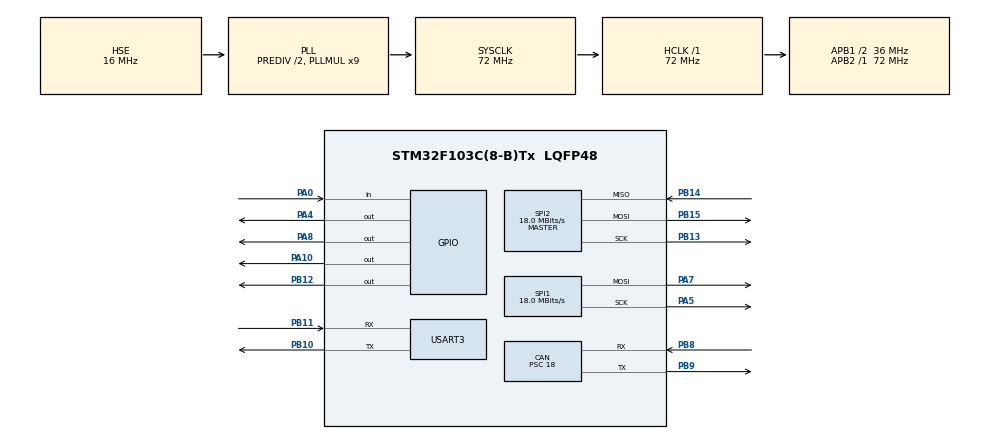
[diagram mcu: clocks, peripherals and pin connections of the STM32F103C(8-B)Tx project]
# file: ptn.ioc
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CAN.BS1=CAN_BS1_13TQ
CAN.BS2=CAN_BS2_2TQ
CAN.CalculateBaudRate=125000
CAN.CalculateTimeBit=8000
CAN.CalculateTimeQuantum=500.0
CAN.Prescaler=18
Mcu.Family=STM32F1
Mcu.Name=STM32F103C(8-B)Tx
Mcu.Package=LQFP48
NVIC.PriorityGroup=NVIC_PRIORITYGROUP_4
NVIC.TIM2_IRQn=true\:0\:0\:false\:false\:true\:true\:true\:true
PA0-WKUP.GPIO_PuPd=GPIO_PULLUP
PA0-WKUP.Signal=GPIO_Input
PA10.Signal=GPIO_Output
PA13.Mode=Serial_Wire
PA13.Signal=SYS_JTMS-SWDIO
PA14.Mode=Serial_Wire
PA14.Signal=SYS_JTCK-SWCLK
PA4.Signal=GPIO_Output
PA5.Mode=TX_Only_Simplex_Unidirect_Master
PA5.Signal=SPI1_SCK
PA7.Mode=TX_Only_Simplex_Unidirect_Master
PA7.Signal=SPI1_MOSI
PA8.Signal=GPIO_Output
PB10.Mode=Asynchronous
PB10.Signal=USART3_TX
PB11.Mode=Asynchronous
PB11.Signal=USART3_RX
PB12.Signal=GPIO_Output
PB13.Mode=Full_Duplex_Master
PB13.Signal=SPI2_SCK
PB14.Mode=Full_Duplex_Master
PB14.Signal=SPI2_MISO
PB15.Mode=Full_Duplex_Master
PB15.Signal=SPI2_MOSI
PB8.Mode=CAN_Activate
PB8.Signal=CAN_RX
PB9.Mode=CAN_Activate
PB9.Signal=CAN_TX
PD0-OSC_IN.Mode=HSE-External-Oscillator
PD0-OSC_IN.Signal=RCC_OSC_IN
PD1-OSC_OUT.Mode=HSE-External-Oscillator
PD1-OSC_OUT.Signal=RCC_OSC_OUT
ProjectManager.HeapSize=0x200
ProjectManager.StackSize=0x400
ProjectManager.TargetToolchain=Makefile
RCC.AHBFreq_Value=72000000
RCC.APB1CLKDivider=RCC_HCLK_DIV2
RCC.APB1Freq_Value=36000000
RCC.APB1TimFreq_Value=72000000
RCC.APB2Freq_Value=72000000
RCC.APB2TimFreq_Value=72000000
RCC.HCLKFreq_Value=72000000
RCC.HSEDivPLL=RCC_HSE_PREDIV_DIV2
RCC.HSE_VALUE=16000000
RCC.PLLMUL=RCC_PLL_MUL9
RCC.PLLSourceVirtual=RCC_PLLSOURCE_HSE
RCC.SYSCLKFreq_VALUE=72000000
RCC.SYSCLKSource=RCC_SYSCLKSOURCE_PLLCLK
RCC.USBFreq_Value=72000000
SPI1.BaudRatePrescaler=SPI_BAUDRATEPRESCALER_4
SPI1.CalculateBaudRate=18.0 MBits/s
SPI1.Direction=SPI_DIRECTION_2LINES
SPI1.Mode=SPI_MODE_MASTER
SPI1.VirtualType=VM_MASTER
SPI2.BaudRatePrescaler=SPI_BAUDRATEPRESCALER_2
SPI2.CalculateBaudRate=18.0 MBits/s
SPI2.Direction=SPI_DIRECTION_2LINES
SPI2.Mode=SPI_MODE_MASTER
SPI2.VirtualType=VM_MASTER
TIM2.Period=7199
TIM2.Prescaler=999
USART3.VirtualMode=VM_ASYNC
VP_TIM2_VS_ClockSourceINT.Mode=Internal
board=custom

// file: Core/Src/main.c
/* USER CODE BEGIN Header */
/**
  ******************************************************************************
  * @file           : main.c
  * @brief          : Main program body
  * @author         : Ardavan Pourkeramati
  ******************************************************************************
  * @attention
  *
  * Copyright (c) 2024 STMicroelectronics.
  * All rights reserved.
  *
  * This software is licensed under terms that can be found in the LICENSE file
  * in the root directory of this software component.
  * If no LICENSE file comes with this software, it is provided AS-IS.
  *
  ******************************************************************************
  */
/* USER CODE END Header */
#include "main.h"
#include "can.h"
#include "spi.h"
#include "tim.h"
#include "usart.h"
#include "gpio.h"

/* USER CODE BEGIN Includes */
#include "adf4351.h"
#include "nrf24l01.h"
#include <stdio.h>
#include <stdbool.h>
/* USER CODE END Includes */

/* USER CODE BEGIN PD */
#define FHSS_NUM_FREQS (100)
/* USER CODE END PD */

/* USER CODE BEGIN PV */
const uint64_t fhss_freqs[FHSS_NUM_FREQS] = {
    915564235, 904440541, 903148600, 904227128, 917506829,
    909397973, 908812571, 915449869, 919254899, 926507321,
    925822447, 923067571, 903557369, 916691446, 912408403,
    915808206, 903846361, 915402520, 906336386, 902037364,
    909321452, 907231759, 918789091, 905750371, 923042615,
    906372704, 912755720, 904459906, 906370088, 923731407,
    903472249, 927657559, 912651500, 918619844, 925694767,
    927554893, 919457550, 916626225, 906220683, 920235783,
    921967008, 902299182, 911944043, 906843950, 926112279,
    910403184, 923919218, 918063135, 924158523, 921292666,
    904810996, 905714947, 913249837, 914091121, 925623877,
    925355688, 906284260, 920917239, 917981303, 905593593,
    917042242, 902399063, 923820062, 926307788, 909535172,
    907539445, 925176093, 904984611, 909284218, 919224644,
    905772047, 920586961, 916456393, 907262194, 916956907,
    909592341, 924544342, 926980836, 922475339, 924512210,
    926230896, 917236004, 912573921, 903178029, 924828246,
    923296754, 916947099, 910847903, 926148369, 914389275,
    915863526, 911243652, 904026491, 904906841, 912758865,
    903310541, 907514837, 926261994, 927272190, 903953924
};

/* USER CODE END PV */

void SystemClock_Config(void);
/* USER CODE BEGIN PFP */
void cmd_sm_init(void);
void read_back_config(void);
/* USER CODE END PFP */

int main(void)
{

  /* MCU Configuration--------------------------------------------------------*/

  /* Reset of all peripherals, Initializes the Flash interface and the Systick. */
  HAL_Init();

  /* USER CODE BEGIN Init */

  // Disable buffering for stdout:
  setvbuf(stdout, NULL, _IONBF, 0);

  /* USER CODE END Init */

  /* Configure the system clock */
  SystemClock_Config();

  /* Initialize all configured peripherals */
  MX_GPIO_Init();
  MX_SPI1_Init();
  MX_TIM2_Init();
  MX_SPI2_Init();
  MX_CAN_Init();
  MX_USART3_UART_Init();
  /* USER CODE BEGIN 2 */

  // Set up initial state for SPI IO pins:
  HAL_GPIO_WritePin(SPI1_CSn_GPIO_Port, SPI1_CSn_Pin, 1);
  HAL_GPIO_WritePin(SPI1_LD_GPIO_Port, SPI1_LD_Pin, 1);

  // PTN - SN pair status:
  bool ptn_sn_paired = false;
  uint8_t paired_sn_id = SN_ID_UNPAIRED;

  // PTN ID Detection:
  uint8_t ptn_id = 0;
  if (HAL_GPIO_ReadPin(PTN_ID_Port, PTN_ID_Pin) == 1)
  {
    ptn_id = PTN_1;
  }
  else
  {
    ptn_id = PTN_2;
  }

  // Initialize the ADF4351 and keep it off:
  cmd_sm_init();
  adf4350_out_altvoltage0_powerdown(1);
  HAL_GPIO_WritePin(PTN_RF_ON_LED_Port, PTN_RF_ON_LED_Pin, 0);

  // CAN Setup:
  CAN_FilterTypeDef can_filter = {
      .FilterIdHigh = (uint32_t)(PTN_REQUEST_ID << 5 | 0x0000),
      .FilterIdLow = 0,
      .FilterMaskIdHigh = (uint32_t)(PTN_RESET << 5 | 0x0000),
      .FilterMaskIdLow = 0,
      .FilterFIFOAssignment = CAN_FILTER_FIFO0,
      .FilterBank = 0,
      .FilterMode = CAN_FILTERMODE_IDLIST,
      .FilterScale = CAN_FILTERSCALE_32BIT,
      .FilterActivation = CAN_FILTER_ENABLE,
      .SlaveStartFilterBank = 0,
  };

  HAL_CAN_ConfigFilter(&hcan, &can_filter);

  HAL_CAN_Start(&hcan);

  CAN_TxHeaderTypeDef tx_header = {
      .StdId = PTN_RESPONSE_ID,
      .ExtId = 0,
      .IDE = CAN_ID_STD,
      .RTR = CAN_RTR_DATA,
      .DLC = CAN_MSG_FRAME_LEN_BYTES,
      .TransmitGlobalTime = DISABLE,
  };

  uint8_t can_tx_payload[CAN_MSG_FRAME_LEN_BYTES] = {0};
  uint8_t can_rx_payload[CAN_MSG_FRAME_LEN_BYTES] = {0};

  HAL_StatusTypeDef can_tx_status = HAL_OK;
  HAL_StatusTypeDef can_rx_status = HAL_OK;

  CAN_RxHeaderTypeDef rx_header = {0};
  uint32_t can_tx_mailbox = 0;

  // NRF24L01 Setup:
  uint8_t tx_payload[MAX_DATA_BYTES] = {0};
  uint8_t rf_payload[PAYLOAD_SZ_BYTES] = {0};

  // [REQUIRED] Make sure to power on the device
  tx_payload[0] = 0b00111111;
  tx_spi_cmd(&hspi2, W_REGISTER(CONFIG_REGISTER), tx_payload, 1);
  HAL_Delay(500);

  // [REQUIRED] Make sure to power on the device
  tx_payload[0] = 0b00111111;
  tx_spi_cmd(&hspi2, W_REGISTER(CONFIG_REGISTER), tx_payload, 1);

  // [REQUIRED] Set payload size for pipe 0
  tx_payload[0] = PAYLOAD_SZ_BYTES;
  tx_spi_cmd(&hspi2, W_REGISTER(RX_PW_P0), tx_payload, 1);

  // [REQUIRED] Set the RF configuration
  NrfRfSetup_t rf_config = {.data_power = ZERO_DBM, .data_rate = TWO_MBPS};
  nrf24l01_setup_rf(&hspi2, &rf_config);

  tx_spi_cmd(&hspi2, FLUSH_RX, NULL, 0);

  // Read back the configs (for debugging):
  read_back_config();

  // Initialize PTN status variable:
  uint8_t ptn_status = PTN_OK;

  /* USER CODE END 2 */

  /* Infinite loop */
  /* USER CODE BEGIN WHILE */
  while (1)
  {
    // Ensure that RF output is off:
    adf4350_out_altvoltage0_powerdown(1);
    HAL_GPIO_WritePin(PTN_RF_ON_LED_Port, PTN_RF_ON_LED_Pin, 0);

    // Wait for CAN message:
    printf("\n\rWaiting for CAN");
    while(HAL_CAN_GetRxFifoFillLevel(&hcan, CAN_RX_FIFO0) <= 0);
    printf("\n\rCAN received");
    can_rx_status = HAL_CAN_GetRxMessage(&hcan, CAN_RX_FIFO0, &rx_header, can_rx_payload);

    // Decode the CAN message:
    const uint16_t ptn_can_id = rx_header.StdId;
    const uint16_t received_ptn_id = can_rx_payload[0];
    const uint16_t ptn_timeout = *((uint16_t*)(can_rx_payload) + 1);
    switch (ptn_can_id)
    {
      case (PTN_REQUEST_ID):
      {
        if (received_ptn_id == ptn_id)
        {
          goto request_handle;
        }
        else
        {
          goto end_while;
        }
      }
      break;

      case (PTN_RESET):
      {
        ptn_sn_paired = false;
        paired_sn_id = SN_ID_UNPAIRED;
        goto end_while;
      }
      break;

      default:
      {
        goto end_while;
      }
      break;
    }

request_handle:
    // NRF24L01 chip enable (CE):
    HAL_GPIO_WritePin(CHIP_ENABLE_GPIO_Port, CHIP_ENABLE_Pin, 1);
    tx_spi_cmd(&hspi2, FLUSH_RX, NULL, 0);

    // When CAN message received, turn on RF power and frequency hopping:
    printf("\n\rRF power ON");
    HAL_GPIO_WritePin(PTN_RF_ON_LED_Port, PTN_RF_ON_LED_Pin, 1);
    adf4350_out_altvoltage0_powerdown(0);
    HAL_TIM_Base_Start_IT(&htim2);

    // Prepare to receive data from NRF24L01:
    int num_rx_msgs = 0;
    int num_uniq_msgs = 0;
    uint32_t prev_rand_id = 0;

    uint8_t cur_status = 0;
    uint8_t rx_fifo_empty = 1;
    uint8_t fifo_status = 0;
    uint8_t rxbuffer[RX_BUF_SZ_BYTES] = {0};

    uint32_t ref_time = HAL_GetTick();
    uint32_t millis_time = HAL_GetTick() - ref_time;

    // Poll the NRF24L01 until data is received. Start a timeout timer so RF output is not on indefinitely:
    printf("\n\rWaiting for NRF");
    while((!STATUS_RX_DR(nrf24l01_get_status(&hspi2))) && millis_time < ptn_timeout)
    {
      millis_time = HAL_GetTick() - ref_time;
    }

    // Power down the RF output:
    printf("\n\rRF power OFF");
    HAL_TIM_Base_Stop_IT(&htim2);
    adf4350_out_altvoltage0_powerdown(1);
    HAL_GPIO_WritePin(PTN_RF_ON_LED_Port, PTN_RF_ON_LED_Pin, 0);

    // If timeout timer did not expire (i.e., NRF24L01 received data), then go ahead and store the payload:
    sensor_msg_t rx_msg = {0};
    if (millis_time < ptn_timeout)
    {
      printf("\n\rNRF received data");

      ptn_status = PTN_OK;

      do
      {
        // Step 1 - Read the RX payload:
        tx_rx_spi_cmd(&hspi2, R_RX_PAYLOAD, NULL, 0, rxbuffer, PAYLOAD_SZ_BYTES + 1);

        num_rx_msgs++;

        // Unpack the message into its components:
        memcpy((void*)(&rx_msg), (void*)(&rxbuffer), PAYLOAD_SZ_BYTES);

        if (rx_msg.msg_id != prev_rand_id)
        {
          num_uniq_msgs++;
          prev_rand_id = rx_msg.msg_id;
        }

        printf("[m: %d] [u: %d] Received message with id = 0x%04x, node_id = 0x%02x! pressure = %d, temp = %d\r\n",
            num_rx_msgs, num_uniq_msgs, rx_msg.msg_id, rx_msg.node_id, rx_msg.pressure, rx_msg.temperature);

        // Clear out the RX buffer:
        memset(&rxbuffer, 0, sizeof(rxbuffer));

        // Step 2 - Clear the RX_DR IRQ bit:
        tx_payload[0] = 0b01000000;
        tx_spi_cmd(&hspi2, W_REGISTER(STATUS), tx_payload, 1);

        // Step 3 - Check FIFO_STATUS to see if there's any more messages:
        tx_rx_spi_cmd(&hspi2, R_REGISTER(FIFO_STATUS), NULL, 0, rxbuffer, 1);
        fifo_status = rxbuffer[0];
        rx_fifo_empty = FIFO_STATUS_RX_EMPTY(fifo_status);

      } while (!rx_fifo_empty);

      // If the PTN is not paired to any SN, then pair the received SN to this PTN
      // The bool 'ptn_sn_paired' is only false after a reset command from the master ECU
      // 'ptn_sn_paired' will remain false unless a sensor node responds to this PTN
      if (ptn_sn_paired == false)
      {
        paired_sn_id = rx_msg.node_id;
        ptn_sn_paired = true;
      }

      // Detect if there is a mismatch by comparing to the sensor node ID stored during pairing:
      if (paired_sn_id != rx_msg.node_id)
      {
        ptn_status = PTN_ERROR_MISMATCH;
      }
    }
    else  // Else, timeout timer expired, so set an error:
    {
      ptn_status = PTN_ERROR_TIMEOUT;
      printf("\n\rERROR: Timeout");
    }

    // NRF24L01 chip enable (CE):
    HAL_GPIO_WritePin(CHIP_ENABLE_GPIO_Port, CHIP_ENABLE_Pin, 0);

    // Pack and transmit CAN message:
    printf("\n\rSending back PTN RESPONSE");
    *((uint16_t*)can_tx_payload) = rx_msg.pressure;
    *((uint16_t*)can_tx_payload + 1) = rx_msg.temperature;
    *((uint8_t*)can_tx_payload + 4) = ptn_id;
    *((uint8_t*)can_tx_payload + 5) = rx_msg.node_id;
    *((uint8_t*)can_tx_payload + 6) = ptn_status;
    *((uint8_t*)can_tx_payload + 7) = (uint8_t)ptn_sn_paired;

    while (HAL_CAN_GetTxMailboxesFreeLevel(&hcan) <= 0);
    can_tx_status = HAL_CAN_AddTxMessage(&hcan, &tx_header, can_tx_payload, &can_tx_mailbox);

end_while:
    // Ensure the RF output is off:
    adf4350_out_altvoltage0_powerdown(1);
    HAL_GPIO_WritePin(PTN_RF_ON_LED_Port, PTN_RF_ON_LED_Pin, 0);
    /* USER CODE END WHILE */

  }
}

void SystemClock_Config(void)
{
  RCC_OscInitTypeDef RCC_OscInitStruct = {0};
  RCC_ClkInitTypeDef RCC_ClkInitStruct = {0};

  /** Initializes the RCC Oscillators according to the specified parameters
  * in the RCC_OscInitTypeDef structure.
  */
  RCC_OscInitStruct.OscillatorType = RCC_OSCILLATORTYPE_HSE;
  RCC_OscInitStruct.HSEState = RCC_HSE_ON;
  RCC_OscInitStruct.HSEPredivValue = RCC_HSE_PREDIV_DIV2;
  RCC_OscInitStruct.HSIState = RCC_HSI_ON;
  RCC_OscInitStruct.PLL.PLLState = RCC_PLL_ON;
  RCC_OscInitStruct.PLL.PLLSource = RCC_PLLSOURCE_HSE;
  RCC_OscInitStruct.PLL.PLLMUL = RCC_PLL_MUL9;
  if (HAL_RCC_OscConfig(&RCC_OscInitStruct) != HAL_OK)
  {
    Error_Handler();
  }

  /** Initializes the CPU, AHB and APB buses clocks
  */
  RCC_ClkInitStruct.ClockType = RCC_CLOCKTYPE_HCLK|RCC_CLOCKTYPE_SYSCLK
                              |RCC_CLOCKTYPE_PCLK1|RCC_CLOCKTYPE_PCLK2;
  RCC_ClkInitStruct.SYSCLKSource = RCC_SYSCLKSOURCE_PLLCLK;
  RCC_ClkInitStruct.AHBCLKDivider = RCC_SYSCLK_DIV1;
  RCC_ClkInitStruct.APB1CLKDivider = RCC_HCLK_DIV2;
  RCC_ClkInitStruct.APB2CLKDivider = RCC_HCLK_DIV1;

  if (HAL_RCC_ClockConfig(&RCC_ClkInitStruct, FLASH_LATENCY_2) != HAL_OK)
  {
    Error_Handler();
  }
}

/* USER CODE BEGIN 4 */

void HAL_TIM_PeriodElapsedCallback(TIM_HandleTypeDef* htim)
{
  static uint8_t i = 0;
  adf4350_out_altvoltage0_frequency(fhss_freqs[i]);
  i = (i + 1) % FHSS_NUM_FREQS;
}

adf4350_init_param pll_config;

void cmd_sm_init()
{
  // initialize pll_config structure
  pll_config.clkin = 25e6;
  pll_config.channel_spacing = 100;
  pll_config.power_up_frequency = 146e6;
  pll_config.reference_div_factor = 1;
  pll_config.reference_doubler_enable = 0;
  pll_config.reference_div2_enable = 0;
  pll_config.phase_detector_polarity_positive_enable = 1;
  pll_config.lock_detect_precision_6ns_enable = 0; // 10 ns
  pll_config.lock_detect_function_integer_n_enable = 0; // Fractional pll
  pll_config.charge_pump_current = 7; //2.50
  pll_config.muxout_select = 6; // Digital Lock Detect Out
  pll_config.low_spur_mode_enable = 1; // higher noise, lower spurs.
  pll_config.cycle_slip_reduction_enable = 0;
  pll_config.charge_cancellation_enable = 0;
  pll_config.anti_backlash_3ns_enable = 0;
  pll_config.band_select_clock_mode_high_enable = 0; // low
  pll_config.clk_divider_12bit = 0;
  pll_config.clk_divider_mode = 0;
  pll_config.aux_output_enable = 0;
  pll_config.aux_output_fundamental_enable = 0;
  pll_config.mute_till_lock_enable = 1;
  pll_config.output_power = 2; // +2 dBm
  pll_config.aux_output_power = ADF4541_POWER_N4_DBM;
  adf4350_out_altvoltage0_powerdown(0); // power down PLL
  adf4350_setup(pll_config);
}

void read_back_config(void)
{
  uint8_t rx_buffer[RX_BUF_SZ_BYTES] = {0};

  tx_rx_spi_cmd(&hspi2, R_REGISTER(CONFIG_REGISTER), NULL, 0, rx_buffer, 1);
  uint8_t config = rx_buffer[0];
  printf("\n\rConfig: %x", config);
  memset(&rx_buffer, 0, sizeof(rx_buffer));

  tx_rx_spi_cmd(&hspi2, R_REGISTER(EN_RXADDR), NULL, 0, rx_buffer, 1);
  uint8_t endp = rx_buffer[0];
  printf("\n\rEnabled Data Pipes: %x", endp);
  memset(&rx_buffer, 0, sizeof(rx_buffer));

  tx_rx_spi_cmd(&hspi2, R_REGISTER(SETUP_RETR), NULL, 0, rx_buffer, 1);
  uint8_t setup_retr = rx_buffer[0];
  printf("\n\rSetup Retry: %x", setup_retr);
  memset(&rx_buffer, 0, sizeof(rx_buffer));

  tx_rx_spi_cmd(&hspi2, R_REGISTER(RF_CH), NULL, 0, rx_buffer, 1);
  uint8_t rfch = rx_buffer[0];
  printf("\n\rRF Channel: %x", rfch);
  memset(&rx_buffer, 0, sizeof(rx_buffer));

  tx_rx_spi_cmd(&hspi2, R_REGISTER(RF_SETUP), NULL, 0, rx_buffer, 1);
  uint8_t rfsetup = rx_buffer[0];
  printf("\n\rRF Setup: %x", rfsetup);
  memset(&rx_buffer, 0, sizeof(rx_buffer));

  tx_rx_spi_cmd(&hspi2, R_REGISTER(RX_ADDR_P0), NULL, 0, rx_buffer, 5);
  uint32_t rx_addr_p0_hi = *((uint32_t*)rx_buffer);
  uint32_t rx_addr_p0_lo = *((uint32_t*)rx_buffer + 1);
  printf("\n\rRX Address High: %lx\n\rRX Address Low: %lx", rx_addr_p0_hi, rx_addr_p0_lo);
  memset(&rx_buffer, 0, sizeof(rx_buffer));

  tx_rx_spi_cmd(&hspi2, R_REGISTER(RX_PW_P0), NULL, 0, rx_buffer, 5);
  uint8_t rx_pw_p0 = rx_buffer[0];
  printf("\n\rRX_PW_P0: %x", rx_pw_p0);
  memset(&rx_buffer, 0, sizeof(rx_buffer));

  tx_rx_spi_cmd(&hspi2, R_REGISTER(FEATURE), NULL, 0, rx_buffer, 1);
  uint8_t feature = rx_buffer[0];
  printf("\n\rFeature: %x", feature);
  memset(&rx_buffer, 0, sizeof(rx_buffer));
}

#ifdef __GNUC__
  /* With GCC, small printf (option LD Linker->Libraries->Small printf
     set to 'Yes') calls __io_putchar() */
int __io_putchar(int ch)
#else
int fputc(int ch, FILE *f)
#endif /* __GNUC__ */
{
  /* Place your implementation of fputc here */
  /* e.g. write a character to the UART3 and Loop until the end of transmission */
  HAL_UART_Transmit(&huart3, (uint8_t *)&ch, 1, HAL_MAX_DELAY);
  return ch;
}

/* USER CODE END 4 */

void Error_Handler(void)
{
  __disable_irq();
  while (1)
  {
  }
}
